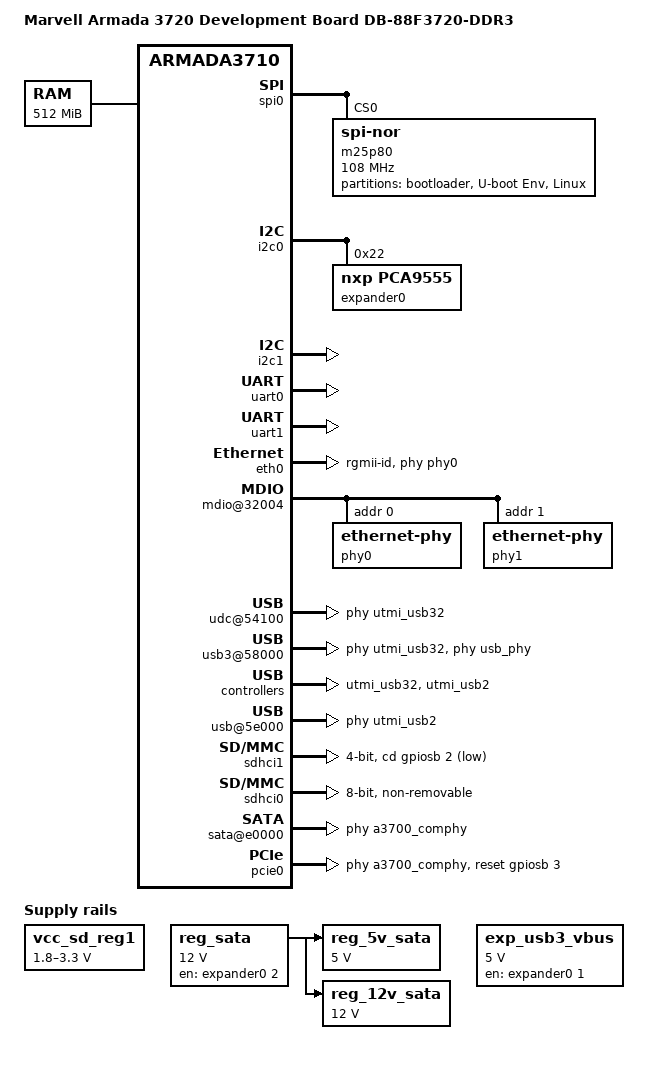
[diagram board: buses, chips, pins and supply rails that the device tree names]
/*
 * Device Tree file for Marvell Armada 3720 development board
 * (DB-88F3720-DDR3)
 * Copyright (C) 2016 Marvell
 *
 * Gregory CLEMENT <gregory.clement@free-electrons.com>
 *
 * This file is dual-licensed: you can use it either under the terms
 * of the GPL or the X11 license, at your option. Note that this dual
 * licensing only applies to this file, and not this project as a
 * whole.
 *
 *  a) This file is free software; you can redistribute it and/or
 *     modify it under the terms of the GNU General Public License as
 *     published by the Free Software Foundation; either version 2 of the
 *     License, or (at your option) any later version.
 *
 *     This file is distributed in the hope that it will be useful
 *     but WITHOUT ANY WARRANTY; without even the implied warranty of
 *     MERCHANTABILITY or FITNESS FOR A PARTICULAR PURPOSE.  See the
 *     GNU General Public License for more details.
 *
 * Or, alternatively
 *
 *  b) Permission is hereby granted, free of charge, to any person
 *     obtaining a copy of this software and associated documentation
 *     files (the "Software"), to deal in the Software without
 *     restriction, including without limitation the rights to use
 *     copy, modify, merge, publish, distribute, sublicense, and/or
 *     sell copies of the Software, and to permit persons to whom the
 *     Software is furnished to do so, subject to the following
 *     conditions:
 *
 *     The above copyright notice and this permission notice shall be
 *     included in all copies or substantial portions of the Software.
 *
 *     THE SOFTWARE IS PROVIDED , WITHOUT WARRANTY OF ANY KIND
 *     EXPRESS OR IMPLIED, INCLUDING BUT NOT LIMITED TO THE WARRANTIES
 *     OF MERCHANTABILITY, FITNESS FOR A PARTICULAR PURPOSE AND
 *     NONINFRINGEMENT. IN NO EVENT SHALL THE AUTHORS OR COPYRIGHT
 *     HOLDERS BE LIABLE FOR ANY CLAIM, DAMAGES OR OTHER LIABILITY
 *     WHETHER IN AN ACTION OF CONTRACT, TORT OR OTHERWISE, ARISING
 *     FROM, OUT OF OR IN CONNECTION WITH THE SOFTWARE OR THE USE OR
 *     OTHER DEALINGS IN THE SOFTWARE.
 */

/dts-v1/;

#include "armada-372x.dtsi"

/ {
	model = "Marvell Armada 3720 Development Board DB-88F3720-DDR3";
	compatible = "marvell,armada-3720-db", "marvell,armada3720", "marvell,armada3710";

	chosen {
		stdout-path = "serial0:115200n8";
	};

	memory {
		device_type = "memory";
		reg = <0x00000000 0x00000000 0x00000000 0x20000000>;
	};

	soc {
		internal-regs {
			spi0: spi@10600 {
				pinctrl-names = "default";
				pinctrl-0 = <&spi_quad_pins>;
				status = "okay";

				m25p80@0 {
					compatible = "jedec,spi-nor";
					reg = <0>;
					spi-max-frequency = <108000000>;
					spi-rx-bus-width = <4>;
					spi-tx-bus-width = <4>;

					partitions {
						compatible = "fixed-partitions";
						#address-cells = <1>;
						#size-cells = <1>;
						partition@0 {
							label = "bootloader";
							reg = <0x0 0x200000>;
						};
						partition@200000 {
							label = "U-boot Env";
							reg = <0x200000 0x10000>;
						};
						partition@210000 {
							label = "Linux";
							reg = <0x210000 0xDF0000>;
						};
					};
				};
			};

			i2c0: i2c@11000 {
				pinctrl-names = "default";
				pinctrl-0 = <&i2c1_pins>;
				status = "okay";
				expander0: pca9555@22 {
					compatible = "nxp,pca9555";
					reg = <0x22>;
					gpio-controller;
					#gpio-cells = <2>;
				};
			};

			i2c1: i2c@11080 {
				status = "okay";
			};

			reg_avs: avs@11500 {
				status = "okay";
			};

			/*
			* Exported on the micro USB connector CON32
			* through an FTDI
			*/
			uart0: serial@12000 {
				pinctrl-names = "default";
				pinctrl-0 = <&uart1_pins>;
				status = "okay";
			};

			uart1: serial@12200 {
				pinctrl-names = "default";
				pinctrl-0 = <&uart2_pins>;
				status = "okay";
			};

			eth0: ethernet@30000 {
				pinctrl-names = "default";
				pinctrl-0 = <&rgmii_pins>, <&smi_pins>;
				phy-mode = "rgmii-id";
				phy = <&phy0>;
				status = "okay";
				buffer-manager = <&bm>;
				bm,pool-long = <1>;
				bm,pool-short = <3>;
			};

			mdio@32004 {
				phy0: ethernet-phy@0 {
					reg = <0>;
				};
				phy1: ethernet-phy@1 {
					reg = <1>;
				};
			};

			u3d@50000 {
				status = "okay";
				phys = <&a3700_comphy 0 COMPHY_USB3>;
				phy-names = "usb";
			};

			udc@54100 {
				status = "okay";
				phys = <&utmi_usb32>;
				phy-names = "usb";
			};

			/* CON31 */
			usb3@58000 {
				status = "okay";
				usb-phy = <&usb_phy>;
				phys = <&utmi_usb32>, /* utmi usb32 dedicated phy */
				       <&a3700_comphy 0 COMPHY_USB3>; /* usb3 comphy */
				phy-names = "usb2", "usb3";
			};

			utmi_usb32: utmi@5d000 {
				status = "okay";
			};

			usb@5e000 {
				status = "okay";
				phys = <&utmi_usb2>;
				phy-names = "usb";
			};

			utmi_usb2: utmi@5f000 {
				status = "okay";
			};

			usb_phy: usb_phy@5d800 {
				vcc-supply = <&exp_usb3_vbus>;
				status = "okay";
			};

			interrupt-controller@74840 {
				status = "okay";
			};

			sdhci1: sdhci@d0000 {
				wp-inverted;
				bus-width = <4>;
				cd-gpios = <&gpiosb 2 GPIO_ACTIVE_LOW>;
				vqmmc-supply = <&vcc_sd_reg1>;
				marvell,pad-type = "sd";
				status = "okay";

				pinctrl-names = "default";
				pinctrl-0 = <&sdio_pins>;
			};

			sdhci0: sdhci@d8000 {
				marvell,pad-type = "fixed-1-8v";
				non-removable;
				bus-width = <8>;
				mmc-ddr-1_8v;
				mmc-hs400-1_8v;
				marvell,xenon-emmc;
				marvell,xenon-tun-count = <9>;
				status = "okay";

				pinctrl-names = "default";
				pinctrl-0 = <&mmc_pins>;
			};

			/* CON3 */
			sata@e0000 {
				target-supply = <&reg_5v_sata>;
				phys = <&a3700_comphy 2 COMPHY_SATA0>;
				status = "okay";
			};

			vcc_sd_reg1: regulator@0 {
				compatible = "regulator-gpio";
				regulator-name = "vcc_sd1";
				regulator-min-microvolt = <1800000>;
				regulator-max-microvolt = <3300000>;
				regulator-boot-on;

				gpios = <&gpiosb 23 GPIO_ACTIVE_HIGH>;
				gpios-states = <0>;
				states = <1800000 0x1
					  3300000 0x0>;

				enable-active-high;
			};
			bm: bm@c0000 {
				status = "okay";
			};
			bm_bppi: bm-bppi {
				status = "okay";
			};
			eip97: eip97@90000 {
				status = "okay";
			};
		};

		reg_sata: pwr-sata {
			compatible = "regulator-fixed";
			regulator-name = "pwr_en_sata";
			regulator-min-microvolt = <12000000>;
			regulator-max-microvolt = <12000000>;
			enable-active-high;
			regulator-boot-on;
			gpio = <&expander0 2 GPIO_ACTIVE_HIGH>;
		};

		reg_5v_sata: v5-sata {
			compatible = "regulator-fixed";
			regulator-name = "v5.0-sata";
			regulator-min-microvolt = <5000000>;
			regulator-max-microvolt = <5000000>;
			vin-supply = <&reg_sata>;
		};

		reg_12v_sata: v12-sata {
			compatible = "regulator-fixed";
			regulator-name = "v12.0-sata";
			regulator-min-microvolt = <12000000>;
			regulator-max-microvolt = <12000000>;
			vin-supply = <&reg_sata>;
		};

	};

	exp_usb3_vbus: usb3-vbus {
		compatible = "regulator-fixed";
		regulator-name = "usb3-vbus";
		regulator-min-microvolt = <5000000>;
		regulator-max-microvolt = <5000000>;
		enable-active-high;
		gpio = <&expander0 1 GPIO_ACTIVE_HIGH>;
	};
};

/* CON17 (PCIe) / CON12 (mini-PCIe) */
&pcie0 {
	pinctrl-names = "default";
	pinctrl-0 = <&pcie_pins>;
	status = "okay";
	phys = <&a3700_comphy 1 COMPHY_PCIE0>;
	phy-names = "comphy";
	reset-gpios = <&gpiosb 3 GPIO_ACTIVE_HIGH>;
};
